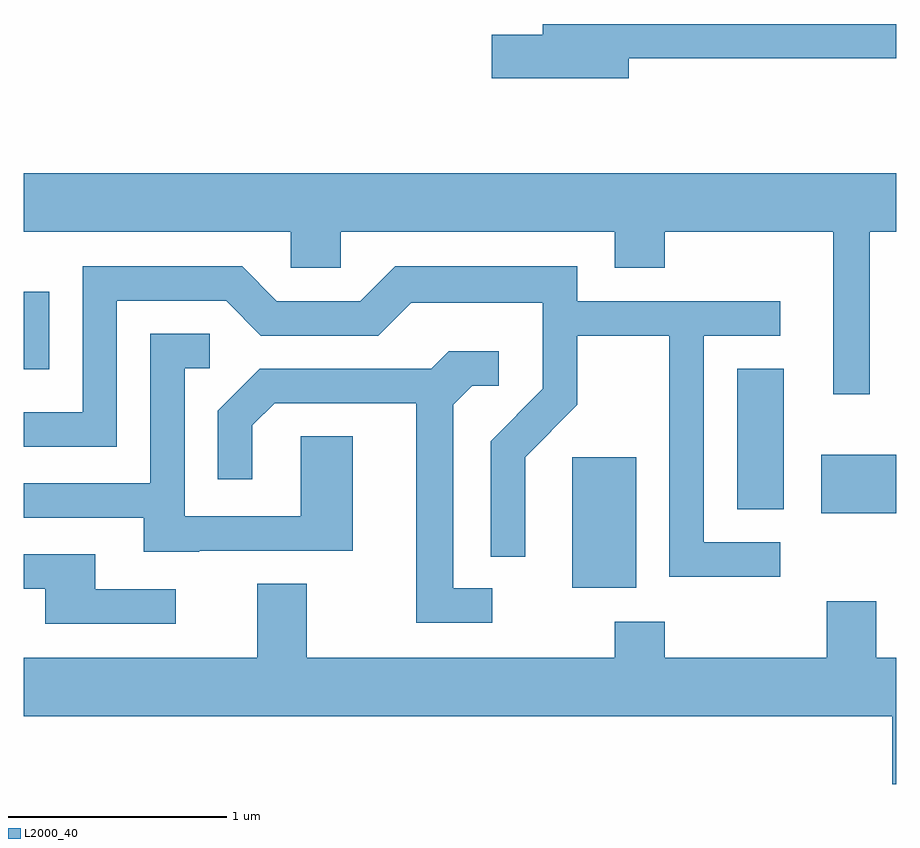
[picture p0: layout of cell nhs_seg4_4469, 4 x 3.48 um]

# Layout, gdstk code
import gdstk
lib = gdstk.Library(unit=1e-6, precision=1e-09)
def R(c, l, rs):  # rectangles x0, y0, x1, y1
    for r in rs: c.add(gdstk.rectangle(r[:2], r[2:], *l))
def P(c, l, *ps):  # polygons
    for p in ps: c.add(gdstk.Polygon(p, *l))
L2000_40 = (2000, 40)

nhs_seg4_4469 = lib.new_cell('nhs_seg4_4469')
R(nhs_seg4_4469, L2000_40, [(318.126,1353.046,318.419,1353.644), (319.266,1353.386,319.611,1353.654), (318.881,1353.406,319.094,1354.049), (315.611,1354.046,315.729,1354.403)])
P(nhs_seg4_4469, L2000_40, [(318.384,1355.471),(319.611,1355.471),(319.611,1355.629),(317.991,1355.629),(317.991,1355.579),(317.756,1355.579),(317.756,1355.381),(318.384,1355.381)],
  [(319.489,1354.676),(319.611,1354.676),(319.611,1354.944),(315.611,1354.944),(315.611,1354.676),(316.836,1354.676),(316.836,1354.511),(317.064,1354.511),(317.064,1354.676),(318.321,1354.676),(318.321,1354.511),(318.549,1354.511),(318.549,1354.676),(319.321,1354.676),(319.321,1353.933),(319.489,1353.933)],
  [(319.078,1353.254),(318.729,1353.254),(318.729,1354.201),(319.078,1354.201),(319.078,1354.359),(318.149,1354.359),(318.149,1354.519),(317.314,1354.519),(317.154,1354.359),(316.772,1354.359),(316.612,1354.519),(315.881,1354.519),(315.881,1353.849),(315.611,1353.849),(315.611,1353.691),(316.039,1353.691),(316.039,1354.361),(316.539,1354.361),(316.699,1354.201),(317.237,1354.201),(317.387,1354.351),(317.991,1354.351),(317.991,1353.957),(317.751,1353.717),(317.751,1353.188),(317.909,1353.188),(317.909,1353.644),(318.149,1353.884),(318.149,1354.201),(318.571,1354.201),(318.571,1353.096),(319.078,1353.096)],
  [(316.415,1353.216),(317.119,1353.216),(317.119,1353.739),(316.881,1353.739),(316.881,1353.374),(316.349,1353.374),(316.349,1354.051),(316.463,1354.051),(316.463,1354.209),(316.191,1354.209),(316.191,1353.524),(315.611,1353.524),(315.611,1353.366),(316.161,1353.366),(316.161,1353.211),(316.415,1353.211)],
  [(317.758,1353.044),(317.579,1353.044),(317.579,1353.884),(317.667,1353.971),(317.788,1353.971),(317.788,1354.129),(317.559,1354.129),(317.479,1354.049),(316.694,1354.049),(316.501,1353.857),(316.501,1353.543),(316.659,1353.543),(316.659,1353.789),(316.762,1353.891),(317.411,1353.891),(317.411,1352.886),(317.758,1352.886)],
  [(316.308,1353.039),(315.939,1353.039),(315.939,1353.199),(315.611,1353.199),(315.611,1353.041),(315.711,1353.041),(315.711,1352.881),(316.308,1352.881)],
  [(319.611,1352.724),(319.519,1352.724),(319.519,1352.984),(319.291,1352.984),(319.291,1352.724),(318.549,1352.724),(318.549,1352.889),(318.321,1352.889),(318.321,1352.724),(316.909,1352.724),(316.909,1353.064),(316.681,1353.064),(316.681,1352.724),(315.611,1352.724),(315.611,1352.456),(319.591,1352.456),(319.591,1352.146),(319.611,1352.146)])

lib.write_gds('nhs_seg4_4469.gds')
